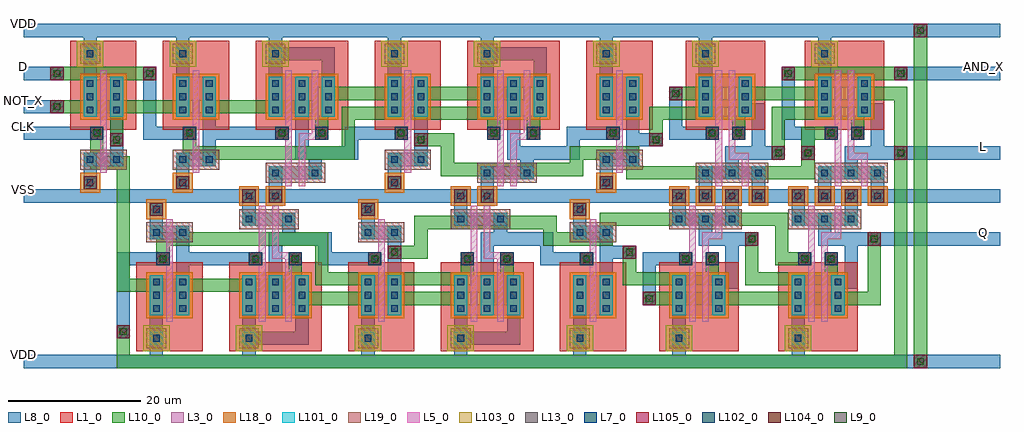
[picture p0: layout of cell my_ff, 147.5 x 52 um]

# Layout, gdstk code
import gdstk
lib = gdstk.Library(unit=1e-6, precision=1e-09)
def R(c, l, rs):  # rectangles x0, y0, x1, y1
    for r in rs: c.add(gdstk.rectangle(r[:2], r[2:], *l))
def A(c, l, x, y, w, h, nx, ny, dx, dy):  # array of equal rectangles
    R(c, l, [(x+i*dx, y+j*dy, x+i*dx+w, y+j*dy+h) for i in range(nx) for j in range(ny)])
def P(c, l, *ps):  # polygons
    for p in ps: c.add(gdstk.Polygon(p, *l))
L1_0 = (1, 0)
L3_0 = (3, 0)
L5_0 = (5, 0)
L7_0 = (7, 0)
L8_0 = (8, 0)
L9_0 = (9, 0)
L10_0 = (10, 0)
L13_0 = (13, 0)
L18_0 = (18, 0)
L19_0 = (19, 0)
L101_0 = (101, 0)
L102_0 = (102, 0)
L103_0 = (103, 0)
L104_0 = (104, 0)
L105_0 = (105, 0)

dcont = lib.new_cell('dcont')
R(dcont, L3_0, [(-1,-1,1,1)])
R(dcont, L7_0, [(-0.5,-0.5,0.5,0.5)])
R(dcont, L8_0, [(-1,-1,1,1)])
R(dcont, L13_0, [(-0.5,-0.5,0.5,0.5)])
R(dcont, L101_0, [(-1,-1,1,1)])
dcont.add(gdstk.Label('dcont', (0,0), layer=13, texttype=0))

psubcont = lib.new_cell('psubcont')
R(psubcont, L18_0, [(-1.5,-1.5,1.5,1.5)])
R(psubcont, L104_0, [(-1,-1,1,1)])
psubcont.add(gdstk.Reference(dcont, (0,0)))
psubcont.add(gdstk.Label('PScon', (0,0), layer=13, texttype=0))

via = lib.new_cell('Via')
R(via, L8_0, [(-1,-1,1,1)])
R(via, L9_0, [(-0.5,-0.5,0.5,0.5)])
R(via, L10_0, [(-1,-1,1,1)])
R(via, L13_0, [(-0.5,-0.5,0.5,0.5)])
R(via, L105_0, [(-1,-1,1,1)])
via.add(gdstk.Label('via', (0,0), layer=13, texttype=0))

pcont = lib.new_cell('pcont')
R(pcont, L5_0, [(-1,-1,1,1)])
R(pcont, L7_0, [(-0.5,-0.5,0.5,0.5)])
R(pcont, L8_0, [(-1,-1,1,1)])
R(pcont, L13_0, [(-0.5,-0.5,0.5,0.5)])
R(pcont, L102_0, [(-1,-1,1,1)])
pcont.add(gdstk.Label('pcont', (0,0), layer=13, texttype=0))

nsubcont = lib.new_cell('nsubcont')
R(nsubcont, L1_0, [(-2,-2,2,2)])
R(nsubcont, L19_0, [(-1.5,-1.5,1.5,1.5)])
R(nsubcont, L103_0, [(-2,-2,2,2)])
nsubcont.add(gdstk.Reference(dcont, (0,0)))
nsubcont.add(gdstk.Label('NScont', (0,0), layer=13, texttype=0))

my_ff = lib.new_cell('my_ff')
A(my_ff, L1_0, -30.5, -39, 10, 13.5, 3, 1, 32, 0)
A(my_ff, L1_0, -26.5, -5.5, 10, 13.5, 3, 1, 32, 0)
R(my_ff, L1_0, [(-16.5,-39,-2.5,-25.5), (15.5,-39,29.5,-25.5), (48.5,-39,60.5,-25.5), (66.5,-39,78.5,-25.5), (-40.5,-5.5,-30.5,8), (-12.5,-5.5,1.5,8), (19.5,-5.5,33.5,8), (52.5,-5.5,64.5,8), (70.5,-5.5,82.5,8)])
A(my_ff, L3_0, -28.5, -33.5, 6, 6, 3, 1, 32, 0)
A(my_ff, L3_0, -28.5, -22, 6, 2, 3, 1, 32, 0)
A(my_ff, L3_0, -24.5, -11, 6, 2, 3, 1, 32, 0)
A(my_ff, L3_0, -24.5, -3.5, 6, 6, 3, 1, 32, 0)
R(my_ff, L3_0, [(-14.5,-33.5,-4.5,-27.5), (17.5,-33.5,27.5,-27.5), (50.5,-33.5,58.5,-27.5), (68.5,-33.5,76.5,-27.5), (-14.5,-20,-8.5,-18), (17.5,-20,23.5,-18), (50.5,-20,60.5,-18), (68.5,-20,78.5,-18), (-10.5,-13,-4.5,-11), (21.5,-13,27.5,-11), (54.5,-13,64.5,-11), (72.5,-13,82.5,-11), (-38.5,-11,-32.5,-9), (-38.5,-3.5,-32.5,2.5), (-10.5,-3.5,-0.5,2.5), (21.5,-3.5,31.5,2.5), (54.5,-3.5,62.5,2.5), (72.5,-3.5,80.5,2.5)])
A(my_ff, L8_0, -47.5, -41.5, 147.5, 2, 1, 3, 0, 25)
A(my_ff, L8_0, -24.5, -23, 2, 1, 3, 1, 32, 0)
A(my_ff, L8_0, -28.5, -20, 2, 1.5, 3, 1, 32, 0)
A(my_ff, L8_0, -24.5, -12.5, 2, 1.5, 3, 1, 32, 0)
A(my_ff, L8_0, -20.5, -9, 2, 1, 3, 1, 32, 0)
A(my_ff, L8_0, -38.5, 2.5, 2, 2.5, 3, 1, 14, 0)
A(my_ff, L8_0, -38.5, 7, 2, 1.5, 3, 1, 14, 0)
R(my_ff, L8_0, [(-28.5,-39.5,-26.5,-38), (-14.5,-39.5,-12.5,-38), (3.5,-39.5,5.5,-38), (17.5,-39.5,19.5,-38), (35.5,-39.5,37.5,-38), (50.5,-39.5,52.5,-38), (68.5,-39.5,70.5,-38), (-12.5,-38,-4.5,-36), (19.5,-38,27.5,-36), (-28.5,-36,-26.5,-33.5), (-14.5,-36,-12.5,-33.5), (-6.5,-36,-4.5,-33.5), (3.5,-36,5.5,-33.5), (17.5,-36,19.5,-33.5), (25.5,-36,27.5,-33.5), (35.5,-36,37.5,-33.5), (50.5,-36,52.5,-33.5), (68.5,-36,70.5,-33.5), (-33.5,-35,-31.5,-24), (46,-32,48,-26), (58.5,-29.5,60.5,-27.5), (76.5,-29.5,78.5,-27.5), (-24.5,-27.5,-22.5,-23), (-10.5,-27.5,-8.5,-21), (7.5,-27.5,9.5,-25), (21.5,-27.5,23.5,-21), (39.5,-27.5,41.5,-25), (58.5,-27.5,60.5,-21), (76.5,-27.5,78.5,-21), (-31.5,-26,-27.5,-24), (-22.5,-26,-13.5,-24), (-3,-26,4.5,-24), (30.5,-26,36.5,-24), (46,-26,51.5,-24), (39.5,-25,43,-23), (-3,-24,-1,-21), (30.5,-24,32.5,-23), (-8.5,-23,-6.5,-20), (-6.5,-23,-3,-21), (23.5,-23,25.5,-20), (25.5,-23,32.5,-21), (54.5,-23,58.5,-21), (60.5,-23,61.5,-21), (72.5,-23,76.5,-21), (78.5,-23,82,-21), (82,-23,100,-21), (54.5,-21,56.5,-20), (72.5,-21,74.5,-20), (-14.5,-18,-12.5,-16.5), (17.5,-18,19.5,-16.5), (50.5,-18,52.5,-16.5), (58.5,-18,60.5,-16.5), (68.5,-18,70.5,-16.5), (76.5,-18,78.5,-16.5), (-10.5,-14.5,-8.5,-13), (21.5,-14.5,23.5,-13), (54.5,-14.5,56.5,-13), (62.5,-14.5,64.5,-13), (72.5,-14.5,74.5,-13), (80.5,-14.5,82.5,-13), (-38.5,-12.5,-36.5,-11), (-4.5,-11,-2.5,-8), (27.5,-11,29.5,-8), (58.5,-11,60.5,-10), (76.5,-11,78.5,-10), (-6.5,-10,-4.5,-3.5), (-2.5,-10,1,-8), (1,-10,3,-7), (25.5,-10,27.5,-3.5), (29.5,-10,36.5,-8), (58.5,-10,62.5,-8), (62.5,-10,64.5,-3.5), (64.5,-10,65.5,-8), (76.5,-10,80.5,-8), (80.5,-10,82.5,-3.5), (82.5,-10,86,-8), (86,-10,100,-8), (-34.5,-9,-32.5,-8), (-20.5,-8,-18.5,-3.5), (34.5,-8,36.5,-7), (43.5,-8,47,-6), (70,-8,72,-5), (-47.5,-7,-37.5,-5), (-29.5,-7,-27.5,4), (-27.5,-7,-23.5,-5), (-18.5,-7,-9.5,-5), (1,-7,8.5,-5), (34.5,-7,40.5,-5), (50,-7,55.5,-5), (67,-7,70,-5), (-34.5,-6,-32.5,-3.5), (11.5,-6,13.5,-3.5), (43.5,-6,45.5,-3.5), (50,-5,52,1), (67,-5,69,2), (62.5,-3.5,64.5,-1.5), (80.5,-3.5,82.5,-1.5), (-47.5,-3,-43.5,-1), (-47.5,2,-43.5,4), (86,2,100,4), (-2.5,2.5,-0.5,5), (7.5,2.5,9.5,5), (21.5,2.5,23.5,5), (29.5,2.5,31.5,5), (39.5,2.5,41.5,5), (54.5,2.5,56.5,5), (72.5,2.5,74.5,5), (-8.5,5,-0.5,7), (23.5,5,31.5,7), (7.5,7,9.5,8.5), (21.5,7,23.5,8.5), (39.5,7,41.5,8.5), (54.5,7,56.5,8.5), (72.5,7,74.5,8.5)])
R(my_ff, L10_0, [(-33.5,-41.5,86,-39.5), (84,-41.5,86,-10), (-33.5,-39.5,-31.5,-37), (87,-39.5,89,9.5), (-7.5,-32,24.5,-30), (24.5,-32,26.5,-26), (48,-32,80,-30), (80,-32,82,-23), (-33.5,-30,-7.5,-28), (-7.5,-30,-5.5,-26), (-3.5,-29,18.5,-27), (18.5,-29,20.5,-26), (43,-29,55.5,-27), (55.5,-29,57.5,-26), (61.5,-29,73.5,-27), (73.5,-29,75.5,-26), (-33.5,-28,-31.5,-11.5), (43,-27.5,45,-25), (61.5,-27.5,63.5,-23), (-3.5,-27,-1.5,-21), (66,-26,69.5,-24), (66,-26,68,-18), (9.5,-25,11.5,-23), (11.5,-25,13.5,-18.5), (-27.5,-24,-25.5,-23), (-27.5,-23,-3.5,-21), (31,-23,33,-20.5), (33,-23,41.5,-21), (39.5,-21,41.5,-20), (13.5,-20.5,33,-18.5), (39.5,-20,66,-18), (43.5,-13,70,-11), (70,-13,72,-5), (15.5,-12.5,17.5,-6), (17.5,-12.5,37,-10.5), (-37.5,-11.5,-35.5,-7), (-35.5,-11.5,-31.5,-9.5), (43.5,-11,45.5,-10), (35,-10.5,37,-8), (-23.5,-10,0.5,-8), (0.5,-10,2.5,-4), (37,-10,45.5,-8), (-34.5,-8,-32.5,-1), (-23.5,-8,-21.5,-7), (13.5,-8,15.5,-6), (65.5,-8,67.5,-3.5), (84,-8,86,1), (70,-7,73.5,-5), (47,-6,49,-3.5), (-3.5,-5,-1.5,-1), (22.5,-5,24.5,-2), (28.5,-5,30.5,1), (59.5,-5,61.5,-2), (77.5,-5,79.5,-2), (0.5,-4,22.5,-2), (47,-4,59.5,-2), (65.5,-4,77.5,-2), (-41.5,-3,-3.5,-1), (-3.5,-1,28.5,1), (52,-1,84,1), (-41.5,2,-29.5,4), (69,2,84,4)])
P(my_ff, L10_0, [(28.5,-5),(28.5,-5),(29,-5),(29,-5)],
  [(-3.5,-5),(-3.5,-5),(-3,-5),(-3,-5)],
  [(61.5,-5),(61.5,-5),(62,-5),(62,-5)],
  [(79.5,-5),(79.5,-5),(80,-5),(80,-5)],
  [(75.5,-26),(75.5,-26),(76,-26),(76,-26)],
  [(57.5,-26),(57.5,-26),(58,-26),(58,-26)],
  [(-7.5,-26),(-7.5,-26),(-7,-26),(-7,-26)],
  [(24.5,-26),(24.5,-26),(25,-26),(25,-26)])
A(my_ff, L18_0, -29, -34, 7, 7, 3, 1, 32, 0)
A(my_ff, L18_0, -25, -4, 7, 7, 3, 1, 32, 0)
R(my_ff, L18_0, [(-15,-34,-4,-27), (17,-34,28,-27), (50,-34,59,-27), (68,-34,77,-27), (-39,-4,-32,3), (-11,-4,0,3), (21,-4,32,3), (54,-4,63,3), (72,-4,81,3)])
A(my_ff, L19_0, -29, -22.5, 7, 3, 3, 1, 32, 0)
A(my_ff, L19_0, -25, -11.5, 7, 3, 3, 1, 32, 0)
R(my_ff, L19_0, [(-15,-20.5,-6,-17.5), (17,-20.5,26,-17.5), (50,-20.5,61,-17.5), (68,-20.5,79,-17.5), (-11,-13.5,-2,-10.5), (21,-13.5,30,-10.5), (54,-13.5,65,-10.5), (72,-13.5,83,-10.5), (-39,-11.5,-32,-8.5)])
my_ff.add(gdstk.FlexPath([(-5.5,-10),(-5.5,-14)], 1, ends="flush", simple_path=True, layer=5, datatype=0))  # L5_0
my_ff.add(gdstk.FlexPath([(-3.5,3.5),(-3.5,-4.5)], 1, ends="flush", simple_path=True, layer=5, datatype=0))  # L5_0
my_ff.add(gdstk.FlexPath([(-3.5,-4.5),(-3.5,-7)], 1, ends="flush", simple_path=True, layer=5, datatype=0))  # L5_0
my_ff.add(gdstk.FlexPath([(-5.5,-10),(-5.5,-6)], 1, ends="flush", simple_path=True, layer=5, datatype=0))  # L5_0
my_ff.add(gdstk.FlexPath([(-5,-6.5),(-4,-6.5)], 1, ends="flush", simple_path=True, layer=5, datatype=0))  # L5_0
my_ff.add(gdstk.FlexPath([(26.5,-10),(26.5,-14)], 1, ends="flush", simple_path=True, layer=5, datatype=0))  # L5_0
my_ff.add(gdstk.FlexPath([(28.5,3.5),(28.5,-4.5)], 1, ends="flush", simple_path=True, layer=5, datatype=0))  # L5_0
my_ff.add(gdstk.FlexPath([(28.5,-4.5),(28.5,-7)], 1, ends="flush", simple_path=True, layer=5, datatype=0))  # L5_0
my_ff.add(gdstk.FlexPath([(26.5,-10),(26.5,-6)], 1, ends="flush", simple_path=True, layer=5, datatype=0))  # L5_0
my_ff.add(gdstk.FlexPath([(27,-6.5),(28,-6.5)], 1, ends="flush", simple_path=True, layer=5, datatype=0))  # L5_0
my_ff.add(gdstk.FlexPath([(24.5,3.5),(24.5,-4.5)], 1, ends="flush", simple_path=True, layer=5, datatype=0))  # L5_0
my_ff.add(gdstk.FlexPath([(24.5,-4.5),(24.5,-10)], 1, ends="flush", simple_path=True, layer=5, datatype=0))  # L5_0
my_ff.add(gdstk.FlexPath([(24.5,-10),(24.5,-14)], 1, ends="flush", simple_path=True, layer=5, datatype=0))  # L5_0
my_ff.add(gdstk.FlexPath([(42.5,3.5),(42.5,-4.5)], 1, ends="flush", simple_path=True, layer=5, datatype=0))  # L5_0
my_ff.add(gdstk.FlexPath([(42.5,-8),(42.5,-12)], 1, ends="flush", simple_path=True, layer=5, datatype=0))  # L5_0
my_ff.add(gdstk.FlexPath([(42.5,-4.5),(42.5,-8)], 1, ends="flush", simple_path=True, layer=5, datatype=0))  # L5_0
my_ff.add(gdstk.FlexPath([(10.5,3.5),(10.5,-4.5)], 1, ends="flush", simple_path=True, layer=5, datatype=0))  # L5_0
my_ff.add(gdstk.FlexPath([(10.5,-8),(10.5,-12)], 1, ends="flush", simple_path=True, layer=5, datatype=0))  # L5_0
my_ff.add(gdstk.FlexPath([(10.5,-4.5),(10.5,-8)], 1, ends="flush", simple_path=True, layer=5, datatype=0))  # L5_0
my_ff.add(gdstk.FlexPath([(61.5,-10),(61.5,-14)], 1, ends="flush", simple_path=True, layer=5, datatype=0))  # L5_0
my_ff.add(gdstk.FlexPath([(59.5,3.5),(59.5,-4.5)], 1, ends="flush", simple_path=True, layer=5, datatype=0))  # L5_0
my_ff.add(gdstk.FlexPath([(57.5,3.5),(57.5,-4.5)], 1, ends="flush", simple_path=True, layer=5, datatype=0))  # L5_0
my_ff.add(gdstk.FlexPath([(59.5,-4.5),(59.5,-7)], 1, ends="flush", simple_path=True, layer=5, datatype=0))  # L5_0
my_ff.add(gdstk.FlexPath([(59.5,-7),(59.5,-10)], 1, ends="flush", simple_path=True, layer=5, datatype=0))  # L5_0
my_ff.add(gdstk.FlexPath([(57.5,-4.5),(57.5,-10)], 1, ends="flush", simple_path=True, layer=5, datatype=0))  # L5_0
my_ff.add(gdstk.FlexPath([(57.5,-10),(57.5,-14)], 1, ends="flush", simple_path=True, layer=5, datatype=0))  # L5_0
my_ff.add(gdstk.FlexPath([(60,-9.5),(62,-9.5)], 1, ends="flush", simple_path=True, layer=5, datatype=0))  # L5_0
my_ff.add(gdstk.FlexPath([(79.5,-10),(79.5,-14)], 1, ends="flush", simple_path=True, layer=5, datatype=0))  # L5_0
my_ff.add(gdstk.FlexPath([(77.5,3.5),(77.5,-4.5)], 1, ends="flush", simple_path=True, layer=5, datatype=0))  # L5_0
my_ff.add(gdstk.FlexPath([(75.5,3.5),(75.5,-4.5)], 1, ends="flush", simple_path=True, layer=5, datatype=0))  # L5_0
my_ff.add(gdstk.FlexPath([(77.5,-4.5),(77.5,-7)], 1, ends="flush", simple_path=True, layer=5, datatype=0))  # L5_0
my_ff.add(gdstk.FlexPath([(77.5,-7),(77.5,-10)], 1, ends="flush", simple_path=True, layer=5, datatype=0))  # L5_0
my_ff.add(gdstk.FlexPath([(75.5,-4.5),(75.5,-10)], 1, ends="flush", simple_path=True, layer=5, datatype=0))  # L5_0
my_ff.add(gdstk.FlexPath([(75.5,-10),(75.5,-14)], 1, ends="flush", simple_path=True, layer=5, datatype=0))  # L5_0
my_ff.add(gdstk.FlexPath([(78,-9.5),(80,-9.5)], 1, ends="flush", simple_path=True, layer=5, datatype=0))  # L5_0
my_ff.add(gdstk.FlexPath([(-25.5,-26.5),(-25.5,-23)], 1, ends="flush", simple_path=True, layer=5, datatype=0))  # L5_0
my_ff.add(gdstk.FlexPath([(-25.5,-23),(-25.5,-19)], 1, ends="flush", simple_path=True, layer=5, datatype=0))  # L5_0
my_ff.add(gdstk.FlexPath([(-25.5,-34.5),(-25.5,-26.5)], 1, ends="flush", simple_path=True, layer=5, datatype=0))  # L5_0
my_ff.add(gdstk.FlexPath([(-11.5,-21),(-11.5,-17)], 1, ends="flush", simple_path=True, layer=5, datatype=0))  # L5_0
my_ff.add(gdstk.FlexPath([(-11.5,-26.5),(-11.5,-21)], 1, ends="flush", simple_path=True, layer=5, datatype=0))  # L5_0
my_ff.add(gdstk.FlexPath([(-11.5,-34.5),(-11.5,-26.5)], 1, ends="flush", simple_path=True, layer=5, datatype=0))  # L5_0
my_ff.add(gdstk.FlexPath([(74,-21.5),(76,-21.5)], 1, ends="flush", simple_path=True, layer=5, datatype=0))  # L5_0
my_ff.add(gdstk.FlexPath([(71.5,-21),(71.5,-17)], 1, ends="flush", simple_path=True, layer=5, datatype=0))  # L5_0
my_ff.add(gdstk.FlexPath([(71.5,-26.5),(71.5,-21)], 1, ends="flush", simple_path=True, layer=5, datatype=0))  # L5_0
my_ff.add(gdstk.FlexPath([(73.5,-24),(73.5,-21)], 1, ends="flush", simple_path=True, layer=5, datatype=0))  # L5_0
my_ff.add(gdstk.FlexPath([(73.5,-26.5),(73.5,-24)], 1, ends="flush", simple_path=True, layer=5, datatype=0))  # L5_0
my_ff.add(gdstk.FlexPath([(71.5,-34.5),(71.5,-26.5)], 1, ends="flush", simple_path=True, layer=5, datatype=0))  # L5_0
my_ff.add(gdstk.FlexPath([(73.5,-34.5),(73.5,-26.5)], 1, ends="flush", simple_path=True, layer=5, datatype=0))  # L5_0
my_ff.add(gdstk.FlexPath([(75.5,-21),(75.5,-17)], 1, ends="flush", simple_path=True, layer=5, datatype=0))  # L5_0
my_ff.add(gdstk.FlexPath([(56,-21.5),(58,-21.5)], 1, ends="flush", simple_path=True, layer=5, datatype=0))  # L5_0
my_ff.add(gdstk.FlexPath([(53.5,-21),(53.5,-17)], 1, ends="flush", simple_path=True, layer=5, datatype=0))  # L5_0
my_ff.add(gdstk.FlexPath([(53.5,-26.5),(53.5,-21)], 1, ends="flush", simple_path=True, layer=5, datatype=0))  # L5_0
my_ff.add(gdstk.FlexPath([(55.5,-24),(55.5,-21)], 1, ends="flush", simple_path=True, layer=5, datatype=0))  # L5_0
my_ff.add(gdstk.FlexPath([(55.5,-26.5),(55.5,-24)], 1, ends="flush", simple_path=True, layer=5, datatype=0))  # L5_0
my_ff.add(gdstk.FlexPath([(53.5,-34.5),(53.5,-26.5)], 1, ends="flush", simple_path=True, layer=5, datatype=0))  # L5_0
my_ff.add(gdstk.FlexPath([(55.5,-34.5),(55.5,-26.5)], 1, ends="flush", simple_path=True, layer=5, datatype=0))  # L5_0
my_ff.add(gdstk.FlexPath([(57.5,-21),(57.5,-17)], 1, ends="flush", simple_path=True, layer=5, datatype=0))  # L5_0
my_ff.add(gdstk.FlexPath([(6.5,-26.5),(6.5,-23)], 1, ends="flush", simple_path=True, layer=5, datatype=0))  # L5_0
my_ff.add(gdstk.FlexPath([(6.5,-23),(6.5,-19)], 1, ends="flush", simple_path=True, layer=5, datatype=0))  # L5_0
my_ff.add(gdstk.FlexPath([(6.5,-34.5),(6.5,-26.5)], 1, ends="flush", simple_path=True, layer=5, datatype=0))  # L5_0
my_ff.add(gdstk.FlexPath([(38.5,-26.5),(38.5,-23)], 1, ends="flush", simple_path=True, layer=5, datatype=0))  # L5_0
my_ff.add(gdstk.FlexPath([(38.5,-23),(38.5,-19)], 1, ends="flush", simple_path=True, layer=5, datatype=0))  # L5_0
my_ff.add(gdstk.FlexPath([(38.5,-34.5),(38.5,-26.5)], 1, ends="flush", simple_path=True, layer=5, datatype=0))  # L5_0
my_ff.add(gdstk.FlexPath([(20.5,-21),(20.5,-17)], 1, ends="flush", simple_path=True, layer=5, datatype=0))  # L5_0
my_ff.add(gdstk.FlexPath([(20.5,-26.5),(20.5,-21)], 1, ends="flush", simple_path=True, layer=5, datatype=0))  # L5_0
my_ff.add(gdstk.FlexPath([(20.5,-34.5),(20.5,-26.5)], 1, ends="flush", simple_path=True, layer=5, datatype=0))  # L5_0
my_ff.add(gdstk.FlexPath([(23,-24.5),(24,-24.5)], 1, ends="flush", simple_path=True, layer=5, datatype=0))  # L5_0
my_ff.add(gdstk.FlexPath([(22.5,-21),(22.5,-25)], 1, ends="flush", simple_path=True, layer=5, datatype=0))  # L5_0
my_ff.add(gdstk.FlexPath([(24.5,-26.5),(24.5,-24)], 1, ends="flush", simple_path=True, layer=5, datatype=0))  # L5_0
my_ff.add(gdstk.FlexPath([(24.5,-34.5),(24.5,-26.5)], 1, ends="flush", simple_path=True, layer=5, datatype=0))  # L5_0
my_ff.add(gdstk.FlexPath([(22.5,-21),(22.5,-17)], 1, ends="flush", simple_path=True, layer=5, datatype=0))  # L5_0
my_ff.add(gdstk.FlexPath([(-9,-24.5),(-8,-24.5)], 1, ends="flush", simple_path=True, layer=5, datatype=0))  # L5_0
my_ff.add(gdstk.FlexPath([(-9.5,-21),(-9.5,-25)], 1, ends="flush", simple_path=True, layer=5, datatype=0))  # L5_0
my_ff.add(gdstk.FlexPath([(-7.5,-26.5),(-7.5,-24)], 1, ends="flush", simple_path=True, layer=5, datatype=0))  # L5_0
my_ff.add(gdstk.FlexPath([(-7.5,-34.5),(-7.5,-26.5)], 1, ends="flush", simple_path=True, layer=5, datatype=0))  # L5_0
my_ff.add(gdstk.FlexPath([(-9.5,-21),(-9.5,-17)], 1, ends="flush", simple_path=True, layer=5, datatype=0))  # L5_0
my_ff.add(gdstk.FlexPath([(-35.5,-8),(-35.5,-12)], 1, ends="flush", simple_path=True, layer=5, datatype=0))  # L5_0
my_ff.add(gdstk.FlexPath([(-7.5,3.5),(-7.5,-4.5)], 1, ends="flush", simple_path=True, layer=5, datatype=0))  # L5_0
my_ff.add(gdstk.FlexPath([(-7.5,-4.5),(-7.5,-10)], 1, ends="flush", simple_path=True, layer=5, datatype=0))  # L5_0
my_ff.add(gdstk.FlexPath([(-35.5,3.5),(-35.5,-4.5)], 1, ends="flush", simple_path=True, layer=5, datatype=0))  # L5_0
my_ff.add(gdstk.FlexPath([(-7.5,-10),(-7.5,-14)], 1, ends="flush", simple_path=True, layer=5, datatype=0))  # L5_0
my_ff.add(gdstk.FlexPath([(-35.5,-4.5),(-35.5,-8)], 1, ends="flush", simple_path=True, layer=5, datatype=0))  # L5_0
my_ff.add(gdstk.FlexPath([(-21.5,3.5),(-21.5,-4.5)], 1, ends="flush", simple_path=True, layer=5, datatype=0))  # L5_0
my_ff.add(gdstk.FlexPath([(-21.5,-8),(-21.5,-12)], 1, ends="flush", simple_path=True, layer=5, datatype=0))  # L5_0
my_ff.add(gdstk.FlexPath([(-21.5,-4.5),(-21.5,-8)], 1, ends="flush", simple_path=True, layer=5, datatype=0))  # L5_0
my_ff.add(gdstk.Reference(psubcont, (-9.5,-15.5)))
my_ff.add(gdstk.Reference(psubcont, (22.5,-15.5)))
my_ff.add(gdstk.Reference(dcont, (22.5,-12)))
my_ff.add(gdstk.Reference(via, (23.5,-6)))
my_ff.add(gdstk.Reference(pcont, (23.5,-6)))
my_ff.add(gdstk.Reference(nsubcont, (22.5,6)))
my_ff.add(gdstk.Reference(dcont, (22.5,1.5)))
my_ff.add(gdstk.Reference(dcont, (22.5,-0.5)))
my_ff.add(gdstk.Reference(dcont, (22.5,-2.5)))
my_ff.add(gdstk.Reference(psubcont, (55.5,-15.5)))
my_ff.add(gdstk.Reference(psubcont, (63.5,-15.5)))
my_ff.add(gdstk.Reference(psubcont, (59.5,-15.5), x_reflection=True))
my_ff.add(gdstk.Reference(psubcont, (73.5,-15.5)))
my_ff.add(gdstk.Reference(psubcont, (81.5,-15.5)))
my_ff.add(gdstk.Reference(psubcont, (77.5,-15.5), x_reflection=True))
my_ff.add(gdstk.Reference(psubcont, (51.5,-15.5), x_reflection=True))
my_ff.add(gdstk.Reference(psubcont, (69.5,-15.5), x_reflection=True))
my_ff.add(gdstk.Reference(psubcont, (18.5,-15.5), x_reflection=True))
my_ff.add(gdstk.Reference(psubcont, (-13.5,-15.5), x_reflection=True))
my_ff.add(gdstk.Reference(dcont, (22.5,-32.5), x_reflection=True))
my_ff.add(gdstk.Reference(dcont, (22.5,-30.5), x_reflection=True))
my_ff.add(gdstk.Reference(dcont, (22.5,-28.5), x_reflection=True))
my_ff.add(gdstk.Reference(dcont, (44.5,1.5)))
my_ff.add(gdstk.Reference(dcont, (40.5,-10)))
my_ff.add(gdstk.Reference(dcont, (44.5,-10)))
my_ff.add(gdstk.Reference(via, (41.5,-6)))
my_ff.add(gdstk.Reference(pcont, (41.5,-6)))
my_ff.add(gdstk.Reference(psubcont, (40.5,-13.5)))
my_ff.add(gdstk.Reference(nsubcont, (40.5,6)))
my_ff.add(gdstk.Reference(dcont, (40.5,1.5)))
my_ff.add(gdstk.Reference(via, (66.5,-9)))
my_ff.add(gdstk.Reference(dcont, (40.5,-0.5)))
my_ff.add(gdstk.Reference(via, (51,0)))
my_ff.add(gdstk.Reference(dcont, (59.5,-12)))
my_ff.add(gdstk.Reference(dcont, (30.5,1.5)))
my_ff.add(gdstk.Reference(dcont, (63.5,-12)))
my_ff.add(gdstk.Reference(via, (60.5,-6)))
my_ff.add(gdstk.Reference(dcont, (55.5,-12)))
my_ff.add(gdstk.Reference(via, (71,-9)))
my_ff.add(gdstk.Reference(via, (56.5,-6)))
my_ff.add(gdstk.Reference(via, (68,3)))
my_ff.add(gdstk.Reference(pcont, (60.5,-6)))
my_ff.add(gdstk.Reference(pcont, (56.5,-6)))
my_ff.add(gdstk.Reference(dcont, (61.5,1.5)))
my_ff.add(gdstk.Reference(dcont, (61.5,-0.5)))
my_ff.add(gdstk.Reference(dcont, (61.5,-2.5)))
my_ff.add(gdstk.Reference(dcont, (55.5,1.5)))
my_ff.add(gdstk.Reference(dcont, (55.5,-0.5)))
my_ff.add(gdstk.Reference(dcont, (55.5,-2.5)))
my_ff.add(gdstk.Reference(dcont, (30.5,-0.5)))
my_ff.add(gdstk.Reference(via, (85,3)))
my_ff.add(gdstk.Reference(nsubcont, (55.5,6)))
my_ff.add(gdstk.Reference(via, (88,9.5)))
my_ff.add(gdstk.Reference(dcont, (30.5,-2.5)))
my_ff.add(gdstk.Reference(dcont, (77.5,-12)))
my_ff.add(gdstk.Reference(via, (48,-7)))
my_ff.add(gdstk.Reference(dcont, (81.5,-12)))
my_ff.add(gdstk.Reference(via, (78.5,-6)))
my_ff.add(gdstk.Reference(dcont, (73.5,-12)))
my_ff.add(gdstk.Reference(via, (74.5,-6)))
my_ff.add(gdstk.Reference(pcont, (78.5,-6)))
my_ff.add(gdstk.Reference(pcont, (74.5,-6)))
my_ff.add(gdstk.Reference(dcont, (79.5,1.5)))
my_ff.add(gdstk.Reference(dcont, (79.5,-0.5)))
my_ff.add(gdstk.Reference(dcont, (79.5,-2.5)))
my_ff.add(gdstk.Reference(dcont, (73.5,1.5)))
my_ff.add(gdstk.Reference(dcont, (73.5,-0.5)))
my_ff.add(gdstk.Reference(dcont, (73.5,-2.5)))
my_ff.add(gdstk.Reference(via, (85,-9)))
my_ff.add(gdstk.Reference(dcont, (28.5,-12)))
my_ff.add(gdstk.Reference(nsubcont, (73.5,6)))
my_ff.add(gdstk.Reference(pcont, (29.5,-6)))
my_ff.add(gdstk.Reference(via, (29.5,-6)))
my_ff.add(gdstk.Reference(dcont, (26.5,-2.5)))
my_ff.add(gdstk.Reference(dcont, (26.5,-0.5)))
my_ff.add(gdstk.Reference(dcont, (26.5,1.5)))
my_ff.add(gdstk.Reference(dcont, (40.5,-2.5)))
my_ff.add(gdstk.Reference(dcont, (44.5,-2.5)))
my_ff.add(gdstk.Reference(dcont, (44.5,-0.5)))
my_ff.add(gdstk.Reference(dcont, (12.5,-2.5)))
my_ff.add(gdstk.Reference(dcont, (-3.5,-12)))
my_ff.add(gdstk.Reference(via, (-2.5,-6)))
my_ff.add(gdstk.Reference(dcont, (-9.5,-12)))
my_ff.add(gdstk.Reference(dcont, (-19.5,-10)))
my_ff.add(gdstk.Reference(dcont, (-23.5,-10)))
my_ff.add(gdstk.Reference(via, (-8.5,-6)))
my_ff.add(gdstk.Reference(dcont, (-19.5,1.5)))
my_ff.add(gdstk.Reference(dcont, (-19.5,-0.5)))
my_ff.add(gdstk.Reference(dcont, (-19.5,-2.5)))
my_ff.add(gdstk.Reference(dcont, (-23.5,-2.5)))
my_ff.add(gdstk.Reference(pcont, (-2.5,-6)))
my_ff.add(gdstk.Reference(dcont, (-23.5,-0.5)))
my_ff.add(gdstk.Reference(dcont, (-23.5,1.5)))
my_ff.add(gdstk.Reference(nsubcont, (-23.5,6)))
my_ff.add(gdstk.Reference(psubcont, (-37.5,-13.5)))
my_ff.add(gdstk.Reference(pcont, (-36.5,-6)))
my_ff.add(gdstk.Reference(via, (-36.5,-6)))
my_ff.add(gdstk.Reference(via, (-33.5,-7)))
my_ff.add(gdstk.Reference(dcont, (-33.5,-10)))
my_ff.add(gdstk.Reference(dcont, (-37.5,-10)))
my_ff.add(gdstk.Reference(dcont, (-33.5,1.5)))
my_ff.add(gdstk.Reference(dcont, (-33.5,-0.5)))
my_ff.add(gdstk.Reference(psubcont, (-23.5,-13.5)))
my_ff.add(gdstk.Reference(dcont, (-33.5,-2.5)))
my_ff.add(gdstk.Reference(dcont, (-37.5,-2.5)))
my_ff.add(gdstk.Reference(dcont, (-37.5,-0.5)))
my_ff.add(gdstk.Reference(pcont, (-8.5,-6)))
my_ff.add(gdstk.Reference(dcont, (-37.5,1.5)))
my_ff.add(gdstk.Reference(nsubcont, (-37.5,6)))
my_ff.add(gdstk.Reference(dcont, (-1.5,1.5)))
my_ff.add(gdstk.Reference(dcont, (-1.5,-0.5)))
my_ff.add(gdstk.Reference(dcont, (-1.5,-2.5)))
my_ff.add(gdstk.Reference(nsubcont, (-9.5,6)))
my_ff.add(gdstk.Reference(dcont, (-9.5,1.5)))
my_ff.add(gdstk.Reference(dcont, (-9.5,-0.5)))
my_ff.add(gdstk.Reference(dcont, (-9.5,-2.5)))
my_ff.add(gdstk.Reference(dcont, (-5.5,-2.5)))
my_ff.add(gdstk.Reference(dcont, (-5.5,-0.5)))
my_ff.add(gdstk.Reference(dcont, (-5.5,1.5)))
my_ff.add(gdstk.Reference(nsubcont, (8.5,6)))
my_ff.add(gdstk.Reference(dcont, (8.5,1.5)))
my_ff.add(gdstk.Reference(pcont, (-22.5,-6)))
my_ff.add(gdstk.Reference(via, (-22.5,-6)))
my_ff.add(gdstk.Reference(dcont, (8.5,-0.5)))
my_ff.add(gdstk.Reference(dcont, (12.5,-0.5)))
my_ff.add(gdstk.Reference(dcont, (12.5,1.5)))
my_ff.add(gdstk.Reference(dcont, (8.5,-10)))
my_ff.add(gdstk.Reference(dcont, (12.5,-10)))
my_ff.add(gdstk.Reference(via, (-28.5,3)))
my_ff.add(gdstk.Reference(dcont, (8.5,-2.5)))
my_ff.add(gdstk.Reference(via, (-42.5,3)))
my_ff.add(gdstk.Reference(via, (12.5,-7)))
my_ff.add(gdstk.Reference(via, (-42.5,-2)))
my_ff.add(gdstk.Reference(via, (9.5,-6)))
my_ff.add(gdstk.Reference(pcont, (9.5,-6)))
my_ff.add(gdstk.Reference(psubcont, (8.5,-13.5)))
my_ff.add(gdstk.Reference(dcont, (-5.5,-32.5), x_reflection=True))
my_ff.add(gdstk.Reference(pcont, (-12.5,-25), x_reflection=True))
my_ff.add(gdstk.Reference(pcont, (-6.5,-25), x_reflection=True))
my_ff.add(gdstk.Reference(via, (-12.5,-25), x_reflection=True))
my_ff.add(gdstk.Reference(dcont, (-13.5,-19), x_reflection=True))
my_ff.add(gdstk.Reference(via, (-6.5,-25), x_reflection=True))
my_ff.add(gdstk.Reference(dcont, (-7.5,-19), x_reflection=True))
my_ff.add(gdstk.Reference(psubcont, (4.5,-17.5), x_reflection=True))
my_ff.add(gdstk.Reference(pcont, (5.5,-25), x_reflection=True))
my_ff.add(gdstk.Reference(via, (5.5,-25), x_reflection=True))
my_ff.add(gdstk.Reference(dcont, (18.5,-28.5), x_reflection=True))
my_ff.add(gdstk.Reference(dcont, (18.5,-30.5), x_reflection=True))
my_ff.add(gdstk.Reference(dcont, (18.5,-32.5), x_reflection=True))
my_ff.add(gdstk.Reference(nsubcont, (18.5,-37), x_reflection=True))
my_ff.add(gdstk.Reference(psubcont, (-27.5,-17.5), x_reflection=True))
my_ff.add(gdstk.Reference(nsubcont, (-27.5,-37), x_reflection=True))
my_ff.add(gdstk.Reference(dcont, (-27.5,-32.5), x_reflection=True))
my_ff.add(gdstk.Reference(dcont, (-27.5,-30.5), x_reflection=True))
my_ff.add(gdstk.Reference(via, (8.5,-24), x_reflection=True))
my_ff.add(gdstk.Reference(dcont, (-27.5,-28.5), x_reflection=True))
my_ff.add(gdstk.Reference(dcont, (-23.5,-28.5), x_reflection=True))
my_ff.add(gdstk.Reference(dcont, (-23.5,-30.5), x_reflection=True))
my_ff.add(gdstk.Reference(dcont, (-23.5,-32.5), x_reflection=True))
my_ff.add(gdstk.Reference(dcont, (-27.5,-21), x_reflection=True))
my_ff.add(gdstk.Reference(dcont, (-23.5,-21), x_reflection=True))
my_ff.add(gdstk.Reference(dcont, (4.5,-28.5), x_reflection=True))
my_ff.add(gdstk.Reference(dcont, (8.5,-21), x_reflection=True))
my_ff.add(gdstk.Reference(dcont, (4.5,-21), x_reflection=True))
my_ff.add(gdstk.Reference(dcont, (8.5,-32.5), x_reflection=True))
my_ff.add(gdstk.Reference(dcont, (18.5,-19), x_reflection=True))
my_ff.add(gdstk.Reference(dcont, (8.5,-30.5), x_reflection=True))
my_ff.add(gdstk.Reference(dcont, (8.5,-28.5), x_reflection=True))
my_ff.add(gdstk.Reference(dcont, (4.5,-30.5), x_reflection=True))
my_ff.add(gdstk.Reference(dcont, (4.5,-32.5), x_reflection=True))
my_ff.add(gdstk.Reference(nsubcont, (4.5,-37), x_reflection=True))
my_ff.add(gdstk.Reference(dcont, (-9.5,-32.5), x_reflection=True))
my_ff.add(gdstk.Reference(dcont, (-9.5,-30.5), x_reflection=True))
my_ff.add(gdstk.Reference(dcont, (-9.5,-28.5), x_reflection=True))
my_ff.add(gdstk.Reference(dcont, (-13.5,-28.5), x_reflection=True))
my_ff.add(gdstk.Reference(via, (-26.5,-25), x_reflection=True))
my_ff.add(gdstk.Reference(pcont, (-26.5,-25), x_reflection=True))
my_ff.add(gdstk.Reference(dcont, (-13.5,-30.5), x_reflection=True))
my_ff.add(gdstk.Reference(dcont, (-13.5,-32.5), x_reflection=True))
my_ff.add(gdstk.Reference(via, (-32.5,-36), x_reflection=True))
my_ff.add(gdstk.Reference(nsubcont, (-13.5,-37), x_reflection=True))
my_ff.add(gdstk.Reference(dcont, (-5.5,-28.5), x_reflection=True))
my_ff.add(gdstk.Reference(dcont, (-5.5,-30.5), x_reflection=True))
my_ff.add(gdstk.Reference(pcont, (19.5,-25), x_reflection=True))
my_ff.add(gdstk.Reference(via, (19.5,-25), x_reflection=True))
my_ff.add(gdstk.Reference(dcont, (75.5,-30.5), x_reflection=True))
my_ff.add(gdstk.Reference(dcont, (75.5,-32.5), x_reflection=True))
my_ff.add(gdstk.Reference(pcont, (70.5,-25), x_reflection=True))
my_ff.add(gdstk.Reference(pcont, (74.5,-25), x_reflection=True))
my_ff.add(gdstk.Reference(via, (70.5,-25), x_reflection=True))
my_ff.add(gdstk.Reference(dcont, (69.5,-19), x_reflection=True))
my_ff.add(gdstk.Reference(via, (74.5,-25), x_reflection=True))
my_ff.add(gdstk.Reference(dcont, (77.5,-19), x_reflection=True))
my_ff.add(gdstk.Reference(dcont, (73.5,-19), x_reflection=True))
my_ff.add(gdstk.Reference(via, (88,-40.5), x_reflection=True))
my_ff.add(gdstk.Reference(nsubcont, (51.5,-37), x_reflection=True))
my_ff.add(gdstk.Reference(dcont, (51.5,-28.5), x_reflection=True))
my_ff.add(gdstk.Reference(dcont, (51.5,-30.5), x_reflection=True))
my_ff.add(gdstk.Reference(dcont, (51.5,-32.5), x_reflection=True))
my_ff.add(gdstk.Reference(dcont, (57.5,-28.5), x_reflection=True))
my_ff.add(gdstk.Reference(dcont, (57.5,-30.5), x_reflection=True))
my_ff.add(gdstk.Reference(dcont, (57.5,-32.5), x_reflection=True))
my_ff.add(gdstk.Reference(pcont, (52.5,-25), x_reflection=True))
my_ff.add(gdstk.Reference(pcont, (56.5,-25), x_reflection=True))
my_ff.add(gdstk.Reference(via, (52.5,-25), x_reflection=True))
my_ff.add(gdstk.Reference(nsubcont, (69.5,-37), x_reflection=True))
my_ff.add(gdstk.Reference(dcont, (51.5,-19), x_reflection=True))
my_ff.add(gdstk.Reference(via, (56.5,-25), x_reflection=True))
my_ff.add(gdstk.Reference(dcont, (59.5,-19), x_reflection=True))
my_ff.add(gdstk.Reference(dcont, (55.5,-19), x_reflection=True))
my_ff.add(gdstk.Reference(via, (47,-31), x_reflection=True))
my_ff.add(gdstk.Reference(dcont, (36.5,-30.5), x_reflection=True))
my_ff.add(gdstk.Reference(via, (62.5,-22), x_reflection=True))
my_ff.add(gdstk.Reference(dcont, (36.5,-32.5), x_reflection=True))
my_ff.add(gdstk.Reference(nsubcont, (36.5,-37), x_reflection=True))
my_ff.add(gdstk.Reference(psubcont, (36.5,-17.5), x_reflection=True))
my_ff.add(gdstk.Reference(pcont, (37.5,-25), x_reflection=True))
my_ff.add(gdstk.Reference(via, (37.5,-25), x_reflection=True))
my_ff.add(gdstk.Reference(dcont, (40.5,-21), x_reflection=True))
my_ff.add(gdstk.Reference(dcont, (36.5,-21), x_reflection=True))
my_ff.add(gdstk.Reference(dcont, (40.5,-32.5), x_reflection=True))
my_ff.add(gdstk.Reference(dcont, (40.5,-30.5), x_reflection=True))
my_ff.add(gdstk.Reference(dcont, (40.5,-28.5), x_reflection=True))
my_ff.add(gdstk.Reference(dcont, (36.5,-28.5), x_reflection=True))
my_ff.add(gdstk.Reference(via, (81,-22), x_reflection=True))
my_ff.add(gdstk.Reference(dcont, (69.5,-28.5), x_reflection=True))
my_ff.add(gdstk.Reference(dcont, (69.5,-30.5), x_reflection=True))
my_ff.add(gdstk.Reference(dcont, (26.5,-28.5), x_reflection=True))
my_ff.add(gdstk.Reference(dcont, (26.5,-30.5), x_reflection=True))
my_ff.add(gdstk.Reference(dcont, (26.5,-32.5), x_reflection=True))
my_ff.add(gdstk.Reference(dcont, (69.5,-32.5), x_reflection=True))
my_ff.add(gdstk.Reference(pcont, (25.5,-25), x_reflection=True))
my_ff.add(gdstk.Reference(dcont, (75.5,-28.5), x_reflection=True))
my_ff.add(gdstk.Reference(via, (25.5,-25), x_reflection=True))
my_ff.add(gdstk.Reference(dcont, (24.5,-19), x_reflection=True))
my_ff.add(gdstk.Reference(via, (44,-24), x_reflection=True))
my_ff.add(gdstk.Label('VSS', (-47.5,-14.5), layer=8, texttype=0))
my_ff.add(gdstk.Label('AND_X', (97.5,4), layer=8, texttype=0))
my_ff.add(gdstk.Label('L', (97.5,-8), layer=8, texttype=0))
my_ff.add(gdstk.Label('VDD', (-47.5,-39.5), layer=8, texttype=0))
my_ff.add(gdstk.Label('NOT_X', (-47.5,-1), layer=8, texttype=0))
my_ff.add(gdstk.Label('D', (-47.5,4), layer=8, texttype=0))
my_ff.add(gdstk.Label('Q', (97.5,-21), layer=8, texttype=0))
my_ff.add(gdstk.Label('CLK', (-47.5,-5), layer=8, texttype=0))
my_ff.add(gdstk.Label('VDD', (-47.5,10.5), layer=8, texttype=0))

lib.write_gds('my_ff.gds')
